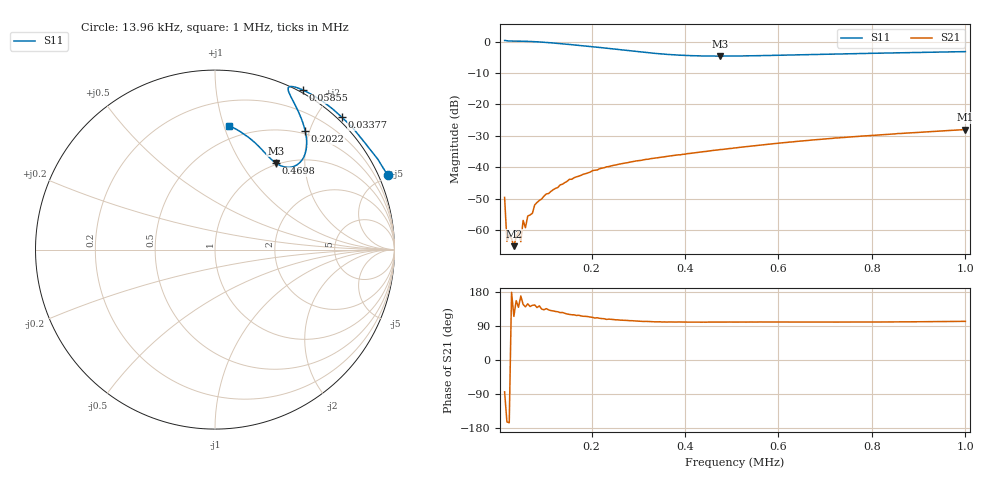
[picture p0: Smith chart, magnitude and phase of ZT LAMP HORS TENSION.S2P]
!Agilent Technologies,E5071C,MY46109397,A.09.54
!Date: Mon Jan 01 02:09:39 2001
!Data & Calibration Information:
!Freq	S11:SOLT1(ON)	S21:RESPT(ON)	S12:NONE(--)	S22:NONE(--)
# Hz S RI R 50
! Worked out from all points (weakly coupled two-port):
!   200 points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, 13.96 kHz to 1 MHz, reference 50 ohm
!   highest |S21| = -27.98 dB at 1 MHz (marker M1); lowest = -65.1 dB at 33.77 kHz (marker M2)
!   lowest |S11| = -4.6 dB at 474.8 kHz (marker M3), VSWR 3.87, Z = 48.6 + j72 ohm
!   |S11| at or under -10 dB: nowhere
!   S12 and S22 are empty: the file has one direction only
!   S11 on the Smith chart (normalised r, x): 13.96 kHz: -0.56, +4.78; 33.77 kHz: -0.07, +2.35; 58.55 kHz: -0.03, +1.69; 202.2 kHz: 0.45, +1.93; 469.8 kHz: 0.98, +1.45; 1 MHz: 0.39, +1.04
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13955  0.9615 0.4148  0.000348 -0.0033  0 0  0 0
18910  0.9073 0.5034  -0.000634 -0.000191  0 0  0 0
23865  0.8331 0.5974  -0.000803 -0.000204  0 0  0 0
33775  0.7082 0.7367  -0.000234 0.000502  0 0  0 0
43685  0.6023 0.8241  -0.00072 0.000622  0 0  0 0
48640  0.5581 0.8525  -0.000641 0.000126  0 0  0 0
53595  0.5214 0.8736  -0.00119 0.000783  0 0  0 0
58550  0.4906 0.8887  -0.000839 0.000695  0 0  0 0
63505  0.4657 0.899  -0.00142 0.000881  0 0  0 0
73415  0.4315 0.9083  -0.0015 0.00108  0 0  0 0
78370  0.4207 0.9087  -0.00207 0.00143  0 0  0 0
83325  0.4135 0.9067  -0.00206 0.00183  0 0  0 0
132875  0.4373 0.8237  -0.00301 0.0043  0 0  0 0
182425  0.4895 0.7068  -0.00332 0.007  0 0  0 0
202245  0.5023 0.6621  -0.00339 0.00815  0 0  0 0
345940  0.4426 0.465  -0.0027 0.0141  0 0  0 0
469815  0.3414 0.4809  -0.00328 0.0186  0 0  0 0
474770  0.3383 0.4831  -0.00332 0.0188  0 0  0 0
509455  0.3179 0.499  -0.00358 0.0201  0 0  0 0
672970  0.2422 0.5768  -0.00482 0.0268  0 0  0 0
836485  0.1668 0.6398  -0.00615 0.033  0 0  0 0
1000000  0.0805 0.6912  -0.0083 0.039  0 0  0 0
